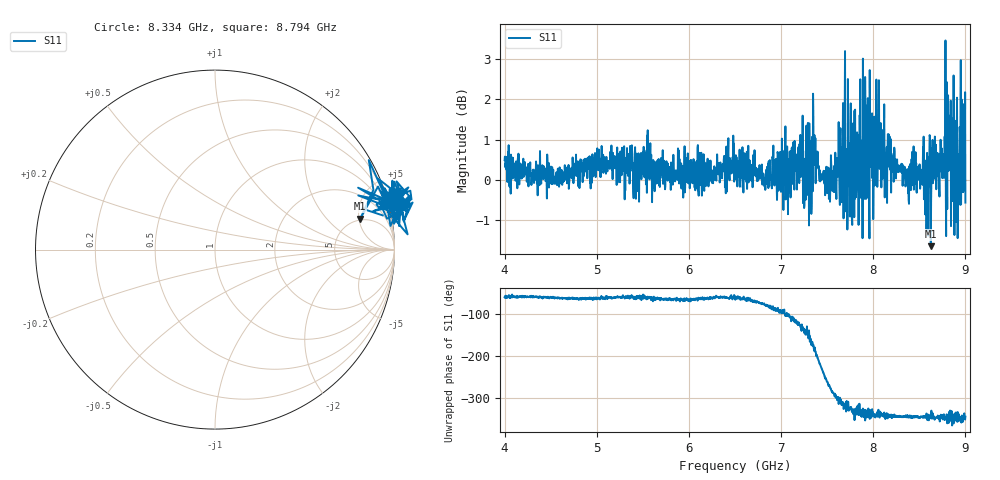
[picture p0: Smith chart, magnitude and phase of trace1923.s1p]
! Created with skrf 1.8.0 (http://scikit-rf.org).
# Hz S RI R 50.0
!freq ReS11 ImS11
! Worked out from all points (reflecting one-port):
!   1601 points, 4 GHz to 9 GHz, reference 50 ohm
!   lowest |S11| = -1.6 dB at 8.625 GHz (marker M1), VSWR 10.62, Z = 238 + j261 ohm
!   phase of S11 starts at -60 deg and turns -284 deg over the sweep
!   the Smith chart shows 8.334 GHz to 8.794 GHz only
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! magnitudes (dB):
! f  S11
! 4 GHz  0.5
! 4.625 GHz  -0.1
! 5.25 GHz  0.1
! 5.875 GHz  0.0
! 6.5 GHz  0.5
! 6.819 GHz  -0.2
! 7.125 GHz  0.8
! 7.209 GHz  1.1
! 7.262 GHz  0.5
! 7.372 GHz  1.0
! 7.428 GHz  0.0
! 7.509 GHz  -0.2
! 7.659 GHz  -0.1
! 7.669 GHz  1.0
! 7.725 GHz  2.5
! 7.75 GHz  -0.7
! 7.912 GHz  2.6
! 7.981 GHz  1.0
! 8.05 GHz  1.1
! 8.375 GHz  0.1
! 8.522 GHz  0.0
! 8.575 GHz  0.5
! 8.625 GHz  -1.6
! 8.766 GHz  0.1
! 8.809 GHz  1.8
! 8.869 GHz  -0.4
! 8.972 GHz  0.6
! 9 GHz  -0.6
